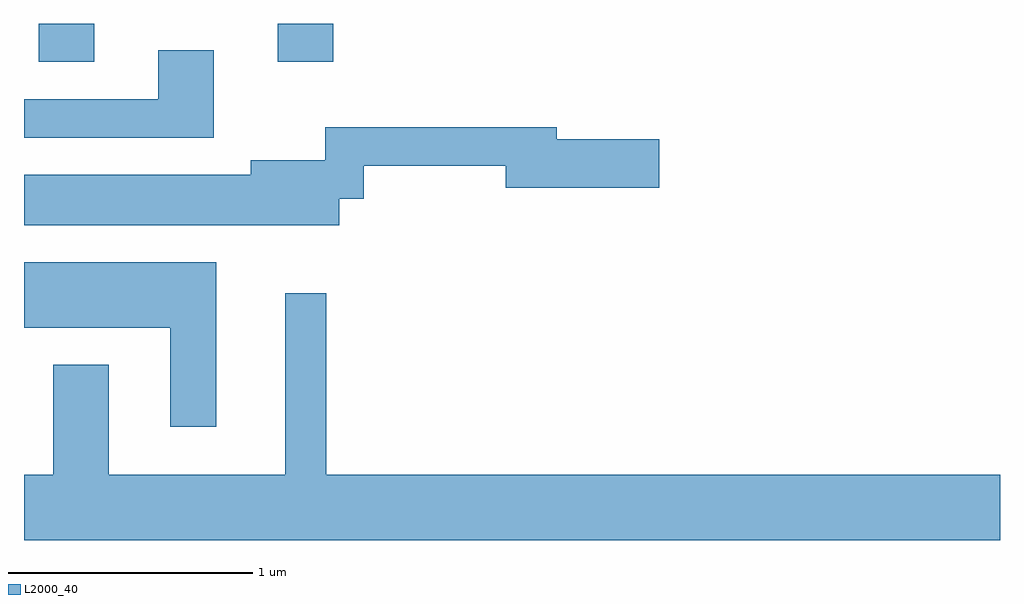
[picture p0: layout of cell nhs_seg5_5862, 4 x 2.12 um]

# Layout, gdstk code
import gdstk
lib = gdstk.Library(unit=1e-6, precision=1e-09)
def R(c, l, rs):  # rectangles x0, y0, x1, y1
    for r in rs: c.add(gdstk.rectangle(r[:2], r[2:], *l))
def P(c, l, *ps):  # polygons
    for p in ps: c.add(gdstk.Polygon(p, *l))
L2000_40 = (2000, 40)

nhs_seg5_5862 = lib.new_cell('nhs_seg5_5862')
R(nhs_seg5_5862, L2000_40, [(359.671,1409.916,359.899,1410.072), (360.651,1409.916,360.879,1410.072)])
P(nhs_seg5_5862, L2000_40, [(360.389,1409.964),(360.161,1409.964),(360.161,1409.764),(359.611,1409.764),(359.611,1409.606),(360.389,1409.606)],
  [(360.904,1409.356),(361.004,1409.356),(361.004,1409.491),(361.586,1409.491),(361.586,1409.401),(362.214,1409.401),(362.214,1409.599),(361.794,1409.599),(361.794,1409.649),(360.846,1409.649),(360.846,1409.514),(360.541,1409.514),(360.541,1409.454),(359.611,1409.454),(359.611,1409.246),(360.904,1409.246)],
  [(360.399,1409.094),(359.611,1409.094),(359.611,1408.826),(360.211,1408.826),(360.211,1408.421),(360.399,1408.421)],
  [(363.611,1408.224),(360.849,1408.224),(360.849,1408.968),(360.681,1408.968),(360.681,1408.224),(359.959,1408.224),(359.959,1408.674),(359.731,1408.674),(359.731,1408.224),(359.611,1408.224),(359.611,1407.956),(363.611,1407.956)])

lib.write_gds('nhs_seg5_5862.gds')
